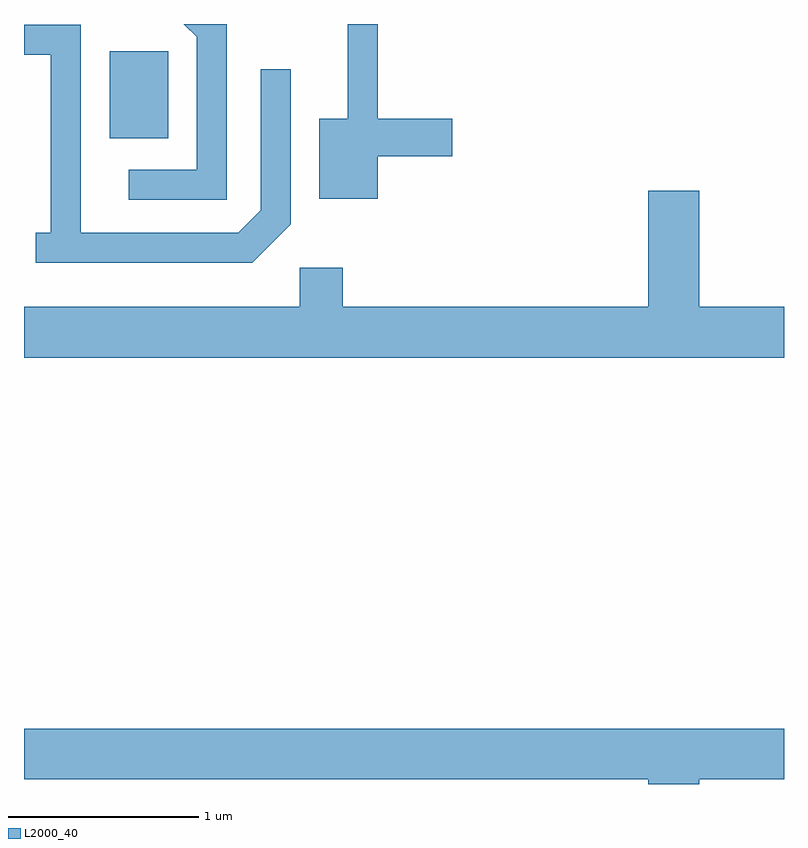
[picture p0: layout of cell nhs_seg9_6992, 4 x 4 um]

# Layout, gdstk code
import gdstk
lib = gdstk.Library(unit=1e-6, precision=1e-09)
def R(c, l, rs):  # rectangles x0, y0, x1, y1
    for r in rs: c.add(gdstk.rectangle(r[:2], r[2:], *l))
def P(c, l, *ps):  # polygons
    for p in ps: c.add(gdstk.Polygon(p, *l))
L2000_40 = (2000, 40)

nhs_seg9_6992 = lib.new_cell('nhs_seg9_6992')
R(nhs_seg9_6992, L2000_40, [(392.061,2021.831,392.369,2022.289)])
P(nhs_seg9_6992, L2000_40, [(392.679,2022.432),(392.453,2022.432),(392.521,2022.364),(392.521,2021.664),(392.163,2021.664),(392.163,2021.506),(392.679,2021.506)],
  [(393.474,2021.736),(393.864,2021.736),(393.864,2021.934),(393.474,2021.934),(393.474,2022.432),(393.316,2022.432),(393.316,2021.934),(393.166,2021.934),(393.166,2021.511),(393.474,2021.511)],
  [(393.014,2021.379),(393.014,2022.193),(392.856,2022.193),(392.856,2021.452),(392.739,2021.334),(391.909,2021.334),(391.909,2022.429),(391.611,2022.429),(391.611,2022.271),(391.751,2022.271),(391.751,2021.334),(391.673,2021.334),(391.673,2021.176),(392.812,2021.176)],
  [(395.611,2020.944),(395.164,2020.944),(395.164,2021.554),(394.896,2021.554),(394.896,2020.944),(393.289,2020.944),(393.289,2021.149),(393.061,2021.149),(393.061,2020.944),(391.611,2020.944),(391.611,2020.676),(395.611,2020.676)],
  [(395.164,2018.456),(395.611,2018.456),(395.611,2018.724),(391.611,2018.724),(391.611,2018.456),(394.896,2018.456),(394.896,2018.432),(395.164,2018.432)])

lib.write_gds('nhs_seg9_6992.gds')
